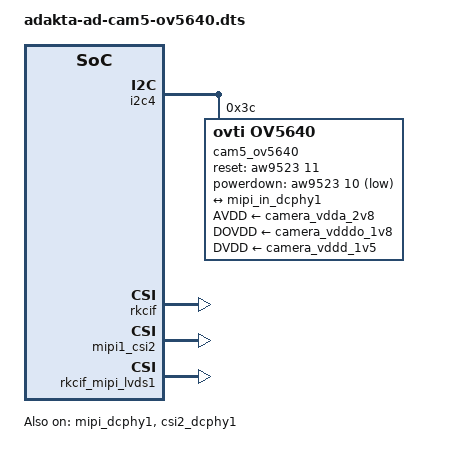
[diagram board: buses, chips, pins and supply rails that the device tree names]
/dts-v1/;
/plugin/;

#include <dt-bindings/clock/rk3588-cru.h>
#include <dt-bindings/power/rk3588-power.h>
#include <dt-bindings/gpio/gpio.h>
#include <dt-bindings/pinctrl/rockchip.h>

/ {
	metadata {
		title = "Enable OV5640 MIPI-CSI Camera 5";
		compatible = "adakta,adakta-ad-rk3588";
		category = "camera";
		description = "Enable OV5640 MIPI-CSI Camera 5";
	};

	fragment@0 {
		target = <&i2c4>;

		__overlay__ {
			status = "okay";

			cam5_ov5640: cam5_ov5640@3c {
				status = "okay";

				compatible = "ovti,ov5640";
				reg = <0x3c>;

				pinctrl-names = "default";
				pinctrl-0 = <&aw9523_cam5_powerdown_pins &aw9523_cam5_reset_pins>;

				reset-gpios = <&aw9523 11 GPIO_ACTIVE_HIGH>;
				powerdown-gpios = <&aw9523 10 GPIO_ACTIVE_LOW>;

				clocks = <&ext_cam_clk>;
				clock-names = "xclk";

				AVDD-supply = <&camera_vdda_2v8>;
				DOVDD-supply = <&camera_vdddo_1v8>;
				DVDD-supply = <&camera_vddd_1v5>;

				rockchip,camera-module-index = <5>;
				rockchip,camera-module-facing = "back";
				rockchip,camera-module-name = "KLT-KD6-OV5640";
				rockchip,camera-module-lens-name = "default";

				port {
					cam5_ov5640_out: endpoint {
						remote-endpoint = <&mipi_in_dcphy1>;
						data-lanes = <1 2 3 4>;
					};
				};
			};
		};
	};

	fragment@1 {
		target = <&mipi_in_dcphy1>;

		__overlay__ {
			remote-endpoint = <&cam5_ov5640_out>;
			data-lanes = <1 2 3 4>;
		};
	};

	fragment@2 {
		target = <&rkcif>;

		__overlay__ {
			status = "okay";
		};
	};

	fragment@3 {
		target = <&rkcif_mmu>;

		__overlay__ {
			status = "okay";
		};
	};

	fragment@4 {
		target = <&mipi_dcphy1>;

		__overlay__ {
			status = "okay";
		};
	};

	fragment@5 {
		target = <&csi2_dcphy1>;

		__overlay__ {
			status = "okay";
		};
	};

	fragment@6 {
		target = <&mipi1_csi2>;

		__overlay__ {
			status = "okay";
		};
	};

	fragment@7 {
		target = <&rkcif_mipi_lvds1>;

		__overlay__ {
			status = "okay";
		};
	};
};
